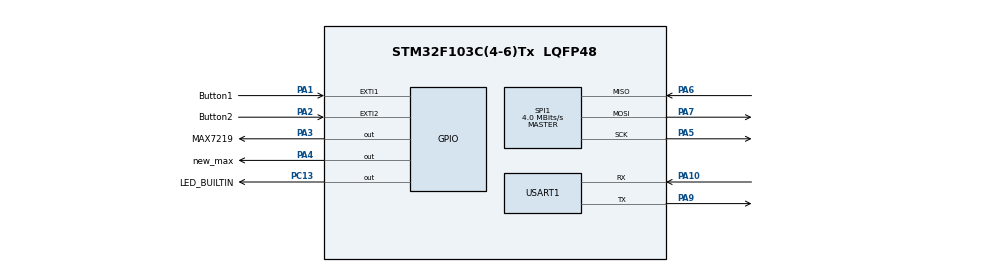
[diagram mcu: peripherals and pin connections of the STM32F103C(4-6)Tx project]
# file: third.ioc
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Mcu.Family=STM32F1
Mcu.Name=STM32F103C(4-6)Tx
Mcu.Package=LQFP48
NVIC.EXTI1_IRQn=true\:0\:0\:false\:false\:true\:true\:true\:true
NVIC.EXTI2_IRQn=true\:0\:0\:false\:false\:true\:true\:true\:true
NVIC.PriorityGroup=NVIC_PRIORITYGROUP_4
NVIC.SPI1_IRQn=true\:1\:0\:true\:false\:true\:true\:true\:true
NVIC.USART1_IRQn=true\:1\:0\:true\:false\:true\:true\:true\:true
PA1.GPIO_Label=Button1
PA1.GPIO_ModeDefaultEXTI=GPIO_MODE_IT_FALLING
PA1.GPIO_PuPd=GPIO_PULLUP
PA1.Signal=GPXTI1
PA10.Mode=Asynchronous
PA10.Signal=USART1_RX
PA13.Mode=Trace_Asynchronous_SW
PA13.Signal=SYS_JTMS-SWDIO
PA14.Mode=Trace_Asynchronous_SW
PA14.Signal=SYS_JTCK-SWCLK
PA2.GPIO_Label=Button2
PA2.GPIO_ModeDefaultEXTI=GPIO_MODE_IT_FALLING
PA2.GPIO_PuPd=GPIO_PULLUP
PA2.Signal=GPXTI2
PA3.GPIO_Label=MAX7219
PA3.PinState=GPIO_PIN_SET
PA3.Signal=GPIO_Output
PA4.GPIO_Label=new_max
PA4.GPIO_Speed=GPIO_SPEED_FREQ_LOW
PA4.PinState=GPIO_PIN_SET
PA4.Signal=GPIO_Output
PA5.Mode=Full_Duplex_Master
PA5.Signal=SPI1_SCK
PA6.Mode=Full_Duplex_Master
PA6.Signal=SPI1_MISO
PA7.Mode=Full_Duplex_Master
PA7.Signal=SPI1_MOSI
PA9.Mode=Asynchronous
PA9.Signal=USART1_TX
PB3.Mode=Trace_Asynchronous_SW
PB3.Signal=SYS_JTDO-TRACESWO
PC13-TAMPER-RTC.GPIO_Label=LED_BUILTIN
PC13-TAMPER-RTC.Signal=GPIO_Output
PD0-OSC_IN.Mode=HSE-External-Oscillator
PD0-OSC_IN.Signal=RCC_OSC_IN
PD1-OSC_OUT.Mode=HSE-External-Oscillator
PD1-OSC_OUT.Signal=RCC_OSC_OUT
ProjectManager.HeapSize=0x200
ProjectManager.StackSize=0x400
ProjectManager.TargetToolchain=STM32CubeIDE
RCC.APB1Freq_Value=8000000
RCC.APB2Freq_Value=8000000
RCC.SYSCLKSource=RCC_SYSCLKSOURCE_HSE
SPI1.CalculateBaudRate=4.0 MBits/s
SPI1.Direction=SPI_DIRECTION_2LINES
SPI1.Mode=SPI_MODE_MASTER
SPI1.VirtualType=VM_MASTER
USART1.VirtualMode=VM_ASYNC
board=custom

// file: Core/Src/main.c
/* USER CODE BEGIN Header */
/**
  ******************************************************************************
  * @file           : main.c
  * @brief          : Main program body
  ******************************************************************************
  * @attention
  *
  * Copyright (c) 2025 STMicroelectronics.
  * All rights reserved.
  *
  * This software is licensed under terms that can be found in the LICENSE file
  * in the root directory of this software component.
  * If no LICENSE file comes with this software, it is provided AS-IS.
  *
  ******************************************************************************
  */
/* USER CODE END Header */
#include "main.h"
#include "spi.h"
#include "usart.h"
#include "gpio.h"

/* USER CODE BEGIN Includes */
typedef enum {
	REG_NO_OP = 0x00,
	REG_DIGIT_0 = 0x01,
	REG_DIGIT_1 = 0x02,
	REG_DIGIT_2 = 0x03,
	REG_DIGIT_3 = 0x04,
	REG_DIGIT_4 = 0x05,
	REG_DIGIT_5 = 0x06,
	REG_DIGIT_6 = 0x07,
	REG_DIGIT_7 = 0x08,
	REG_DECODE_MODE = 0x09,
	REG_INTENSITY = 0x0A,
	REG_SCAN_LIMIT = 0x0B,
	REG_SHUTDOWN = 0x0C,
	REG_DISPLAY_TEST = 0x0F,
	} MAX7219_REGISTERS;
/* USER CODE END Includes */

void SystemClock_Config(void);
/* USER CODE BEGIN PFP */

volatile uint8_t button_1_Count = 0;
volatile uint8_t button_2_Count = 0;
uint32_t lastButtonPressTime = 0;

const uint8_t digit_0 [8] =
{
 0b00111100,
 0b01000010,
 0b01000010,
 0b01000010,
 0b01000010,
 0b01000010,
 0b01000010,
 0b00111100
};

const uint8_t digit_1 [8] =
{
  0b00001000,
  0b00011000,
  0b00101000,
  0b00001000,
  0b00001000,
  0b00001000,
  0b00001000,
  0b00001000
};

const uint8_t digit_2 [8] =
{
  0b00011000,
  0b00100100,
  0b00001000,
  0b00010000,
  0b00100000,
  0b00100000,
  0b00100000,
  0b00111100
};

const uint8_t digit_3 [8] =
{
  0b00011000,
  0b00100100,
  0b00001000,
  0b00010000,
  0b00001000,
  0b00100100,
  0b00011000,
  0b00000000
};

const uint8_t digit_4 [8] =
{
  0b00100100,
  0b00100100,
  0b00100100,
  0b00111100,
  0b00000100,
  0b00000100,
  0b00000100,
  0b00000100
};

const uint8_t digit_5 [8] =
{
  0b00111100,
  0b00100000,
  0b00100000,
  0b00111000,
  0b00000100,
  0b00000100,
  0b00111000,
  0b00000000
};

const uint8_t digit_6 [8] =
{
  0b00011000,
  0b00100100,
  0b00100000,
  0b00111000,
  0b00100100,
  0b00100100,
  0b00100100,
  0b00011000
};

const uint8_t digit_7 [8] =
{
  0b00111100,
  0b00000100,
  0b00001000,
  0b00010000,
  0b00010000,
  0b00010000,
  0b00010000,
  0b00000000
};

const uint8_t digit_8 [8] =
{
  0b00011000,
  0b00100100,
  0b00100100,
  0b00011000,
  0b00100100,
  0b00100100,
  0b00011000,
  0b00000000
};

const uint8_t digit_9 [8] =
{
  0b00011000,
  0b00100100,
  0b00100100,
  0b00011100,
  0b00000100,
  0b00100100,
  0b00011000,
  0b00000000
};

void clear()
{
	for (int i = 0; i < 9; i++){
		  max7219_SendData(i+1, 0x00);
		  new_max_SendData(i+1, 0x00);
	}
}

void max7219_DisplayDigit(uint8_t digit)
{
	switch(digit){

	case 0:
			for (uint8_t row = 0; row < 8; row++)
				max7219_SendData(row+1, digit_0[row]);
			return;
	case 1:
			for (uint8_t row = 0; row < 8; row++)
				max7219_SendData(row+1, digit_1[row]);
			return;
	case 2:
				for (uint8_t row = 0; row < 8; row++)
					max7219_SendData(row+1, digit_2[row]);
				return;
	case 3:
			for (uint8_t row = 0; row < 8; row++)
				max7219_SendData(row+1, digit_3[row]);
			return;
	case 4:
				for (uint8_t row = 0; row < 8; row++)
					max7219_SendData(row+1, digit_4[row]);
				return;
	case 5:
				for (uint8_t row = 0; row < 8; row++)
					max7219_SendData(row+1, digit_5[row]);
				return;
	case 6:
				for (uint8_t row = 0; row < 8; row++)
					max7219_SendData(row+1, digit_6[row]);
				return;
	case 7:
				for (uint8_t row = 0; row < 8; row++)
					max7219_SendData(row+1, digit_7[row]);
				return;
	case 8:
				for (uint8_t row = 0; row < 8; row++)
					max7219_SendData(row+1, digit_8[row]);
				return;
	case 9:
				for (uint8_t row = 0; row < 8; row++)
					max7219_SendData(row+1, digit_9[row]);
				return;

	}
}

void new_max_DisplayDigit(uint8_t digit)
{
	switch(digit){

	case 0:
				for (uint8_t row = 0; row < 8; row++)
					new_max_SendData(row+1, digit_0[row]);
				return;
	case 1:
				for (uint8_t row = 0; row < 8; row++)
					new_max_SendData(row+1, digit_1[row]);
				return;
	case 2:
				for (uint8_t row = 0; row < 8; row++)
					new_max_SendData(row+1, digit_2[row]);
				return;
	case 3:
				for (uint8_t row = 0; row < 8; row++)
					new_max_SendData(row+1, digit_3[row]);
				return;
	case 4:
				for (uint8_t row = 0; row < 8; row++)
					new_max_SendData(row+1, digit_4[row]);
				return;
	case 5:
				for (uint8_t row = 0; row < 8; row++)
					new_max_SendData(row+1, digit_5[row]);
				return;
	case 6:
				for (uint8_t row = 0; row < 8; row++)
					new_max_SendData(row+1, digit_6[row]);
				return;
	case 7:
				for (uint8_t row = 0; row < 8; row++)
					new_max_SendData(row+1, digit_7[row]);
				return;
	case 8:
				for (uint8_t row = 0; row < 8; row++)
					new_max_SendData(row+1, digit_8[row]);
				return;
	case 9:
				for (uint8_t row = 0; row < 8; row++)
					new_max_SendData(row+1, digit_9[row]);
				return;

	}
}

void max7219_SendData(uint8_t addr, uint8_t data)
{
	HAL_GPIO_WritePin(MAX7219_GPIO_Port, MAX7219_Pin, GPIO_PIN_RESET);
	HAL_SPI_Transmit_IT(&hspi1,&addr, 1);
	HAL_SPI_Transmit_IT(&hspi1, &data, 1);
	HAL_GPIO_WritePin(MAX7219_GPIO_Port, MAX7219_Pin, GPIO_PIN_SET);
}

void new_max_SendData(uint8_t addr, uint8_t data)
{
	HAL_GPIO_WritePin(new_max_GPIO_Port, new_max_Pin, GPIO_PIN_RESET);
	HAL_SPI_Transmit_IT(&hspi1,&addr, 1);
	HAL_SPI_Transmit_IT(&hspi1, &data, 1);
	HAL_GPIO_WritePin(new_max_GPIO_Port, new_max_Pin, GPIO_PIN_SET);
}

void HAL_GPIO_EXTI_Callback(uint16_t GPIO_Pin) {
	uint32_t currentTime = HAL_GetTick();
	if (currentTime - lastButtonPressTime > 250){

		if (GPIO_Pin == Button1_Pin) {
        	if(HAL_GPIO_ReadPin (GPIOA, Button1_Pin)==GPIO_PIN_RESET)
        	{
        		button_1_Count = (button_1_Count + 1) % 10;
        		lastButtonPressTime = currentTime;
        	}
        }

		if (GPIO_Pin == Button2_Pin) {
        	if(HAL_GPIO_ReadPin (GPIOA, Button2_Pin)==GPIO_PIN_RESET)
        	{
        		button_2_Count = (button_2_Count + 1) % 10;
        		lastButtonPressTime = currentTime;
        	}
		}
	}
}

/* USER CODE END PFP */

/* USER CODE BEGIN 0 */
uint8_t MAX7219_INIT()
{
	max7219_SendData(REG_SCAN_LIMIT, 0x07); // limit off
	max7219_SendData(REG_DECODE_MODE, 0x00); // decode off
	max7219_SendData(REG_SHUTDOWN, 0x01);
}

uint8_t new_max_INIT()
{
	new_max_SendData(REG_SCAN_LIMIT, 0x07); // limit off
	new_max_SendData(REG_DECODE_MODE, 0x00); // decode off
	new_max_SendData(REG_SHUTDOWN, 0x01);
}

/* USER CODE END 0 */

int main(void)
{

  /* MCU Configuration--------------------------------------------------------*/

  /* Reset of all peripherals, Initializes the Flash interface and the Systick. */
  HAL_Init();

  /* Configure the system clock */
  SystemClock_Config();

  /* Initialize all configured peripherals */
  MX_GPIO_Init();
  MX_USART1_UART_Init();
  MX_SPI1_Init();
  /* USER CODE BEGIN 2 */
  MAX7219_INIT();
  new_max_INIT();

  clear();

  /* USER CODE END 2 */

  /* Infinite loop */
  /* USER CODE BEGIN WHILE */
  while (1)
  {
//	  max7219_DisplayDigit(1);
	  max7219_DisplayDigit(button_1_Count);

	  new_max_DisplayDigit(button_2_Count);
    /* USER CODE END WHILE */

  }
}

void SystemClock_Config(void)
{
  RCC_OscInitTypeDef RCC_OscInitStruct = {0};
  RCC_ClkInitTypeDef RCC_ClkInitStruct = {0};

  /** Initializes the RCC Oscillators according to the specified parameters
  * in the RCC_OscInitTypeDef structure.
  */
  RCC_OscInitStruct.OscillatorType = RCC_OSCILLATORTYPE_HSE;
  RCC_OscInitStruct.HSEState = RCC_HSE_ON;
  RCC_OscInitStruct.PLL.PLLState = RCC_PLL_NONE;
  if (HAL_RCC_OscConfig(&RCC_OscInitStruct) != HAL_OK)
  {
    Error_Handler();
  }

  /** Initializes the CPU, AHB and APB buses clocks
  */
  RCC_ClkInitStruct.ClockType = RCC_CLOCKTYPE_HCLK|RCC_CLOCKTYPE_SYSCLK
                              |RCC_CLOCKTYPE_PCLK1|RCC_CLOCKTYPE_PCLK2;
  RCC_ClkInitStruct.SYSCLKSource = RCC_SYSCLKSOURCE_HSE;
  RCC_ClkInitStruct.AHBCLKDivider = RCC_SYSCLK_DIV1;
  RCC_ClkInitStruct.APB1CLKDivider = RCC_HCLK_DIV1;
  RCC_ClkInitStruct.APB2CLKDivider = RCC_HCLK_DIV1;

  if (HAL_RCC_ClockConfig(&RCC_ClkInitStruct, FLASH_LATENCY_0) != HAL_OK)
  {
    Error_Handler();
  }
}

void Error_Handler(void)
{
  __disable_irq();
  while (1)
  {
  }
}
